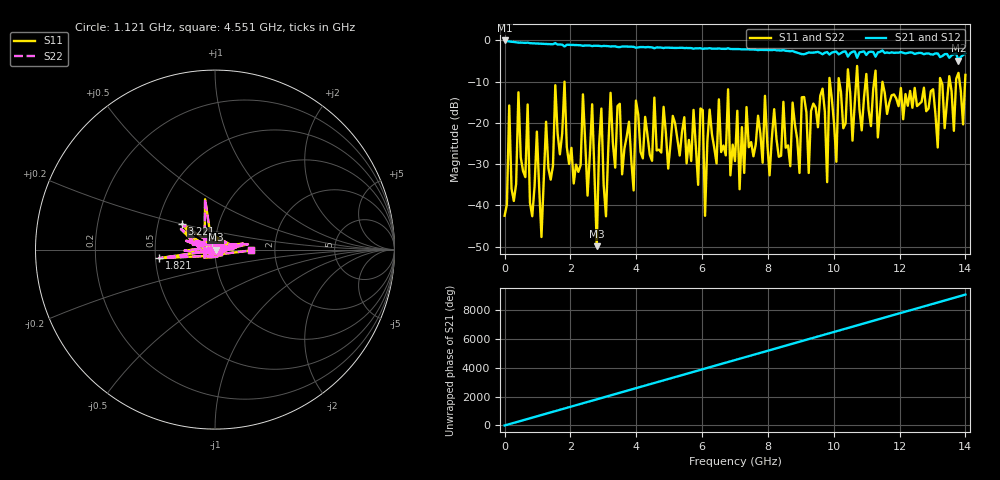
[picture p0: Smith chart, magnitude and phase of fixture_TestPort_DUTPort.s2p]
# Hz S MA R 50.0
!freq magS11 angS11 magS21 angS21 magS12 angS12 magS22 angS22
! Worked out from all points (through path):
!   201 points, 1 MHz to 14 GHz, reference 50 ohm
!   highest |S21| = -0.03 dB at 1 MHz (marker M1); lowest = -4.9 dB at 13.79 GHz (marker M2)
!   lowest |S11| = -49.9 dB at 2.801 GHz (marker M3), VSWR 1.01, Z = 50.3 + j0.0373 ohm
!   |S11| at or under -10 dB: start of sweep to 9.868 GHz; 9.883 GHz to 10.15 GHz (264.3 MHz wide, 2.64 % of centre); 11.28 GHz to 13.23 GHz (1.945 GHz wide, 15.9 % of centre)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
!   |S22| runs from -49.9 to -6.2 dB; largest |S21 - S12| = 0
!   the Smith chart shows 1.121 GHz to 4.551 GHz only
!   S11 on the Smith chart (normalised r, x): 1.121 GHz: 1.01, -0.00; 1.821 GHz: 0.52, -0.06; 3.221 GHz: 0.67, +0.20; 4.551 GHz: 1.51, -0.01
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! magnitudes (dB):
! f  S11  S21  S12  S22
! 1 MHz  -42.5  0.0  0.0  -42.5
! 421 MHz  -12.6  -0.6  -0.6  -12.6
! 1.121 GHz  -47.7  -0.8  -0.8  -47.7
! 1.261 GHz  -19.7  -0.9  -0.9  -19.7
! 1.821 GHz  -10.0  -1.5  -1.5  -10.0
! 2.101 GHz  -34.7  -1.1  -1.1  -34.7
! 2.381 GHz  -13.1  -1.3  -1.3  -13.1
! 2.521 GHz  -37.6  -1.2  -1.2  -37.6
! 2.661 GHz  -15.5  -1.4  -1.4  -15.5
! 2.801 GHz  -49.9  -1.3  -1.3  -49.9
! 2.941 GHz  -16.5  -1.4  -1.4  -16.5
! 3.081 GHz  -42.6  -1.4  -1.4  -42.6
! 3.221 GHz  -12.7  -1.5  -1.5  -12.7
! 3.921 GHz  -36.4  -1.6  -1.6  -36.4
! 3.991 GHz  -14.6  -1.8  -1.8  -14.6
! 4.551 GHz  -13.9  -1.9  -1.9  -13.9
! 4.691 GHz  -26.5  -1.7  -1.7  -26.5
! 7 GHz  -29.3  -2.1  -2.1  -29.3
! 9.38 GHz  -15.3  -3.0  -3.0  -15.3
! 11.69 GHz  -15.1  -3.1  -3.1  -15.1
! 13.79 GHz  -7.9  -4.9  -4.9  -7.9
! 14 GHz  -8.4  -3.1  -3.1  -8.4
